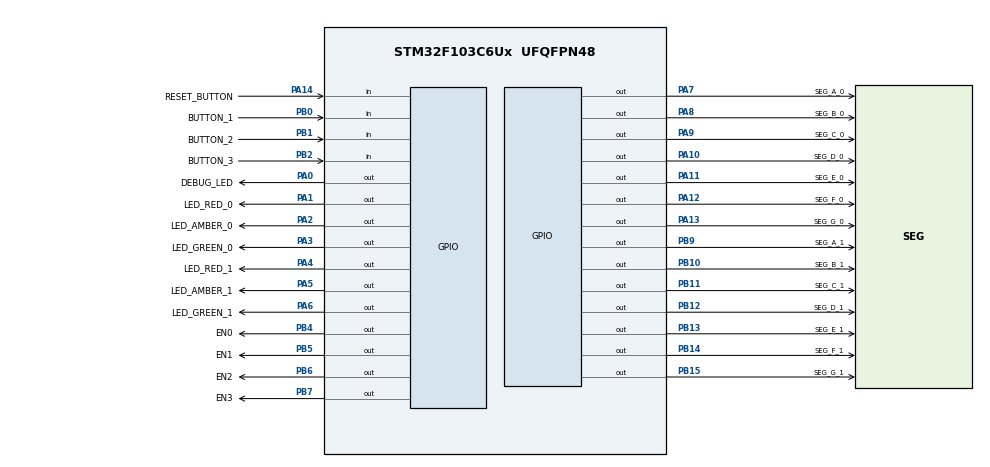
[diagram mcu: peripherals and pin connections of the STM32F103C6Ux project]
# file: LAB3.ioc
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Mcu.Family=STM32F1
Mcu.Name=STM32F103C6Ux
Mcu.Package=UFQFPN48
NVIC.PriorityGroup=NVIC_PRIORITYGROUP_4
NVIC.TIM2_IRQn=true\:0\:0\:false\:false\:true\:true\:true
PA0-WKUP.GPIO_Label=DEBUG_LED
PA0-WKUP.Signal=GPIO_Output
PA1.GPIO_Label=LED_RED_0
PA1.Signal=GPIO_Output
PA10.GPIO_Label=SEG_D_0
PA10.Signal=GPIO_Output
PA11.GPIO_Label=SEG_E_0
PA11.Signal=GPIO_Output
PA12.GPIO_Label=SEG_F_0
PA12.Signal=GPIO_Output
PA13.GPIO_Label=SEG_G_0
PA13.Signal=GPIO_Output
PA14.GPIO_Label=RESET_BUTTON
PA14.GPIO_PuPd=GPIO_PULLUP
PA14.Signal=GPIO_Input
PA2.GPIO_Label=LED_AMBER_0
PA2.Signal=GPIO_Output
PA3.GPIO_Label=LED_GREEN_0
PA3.Signal=GPIO_Output
PA4.GPIO_Label=LED_RED_1
PA4.Signal=GPIO_Output
PA5.GPIO_Label=LED_AMBER_1
PA5.Signal=GPIO_Output
PA6.GPIO_Label=LED_GREEN_1
PA6.Signal=GPIO_Output
PA7.GPIO_Label=SEG_A_0
PA7.Signal=GPIO_Output
PA8.GPIO_Label=SEG_B_0
PA8.Signal=GPIO_Output
PA9.GPIO_Label=SEG_C_0
PA9.Signal=GPIO_Output
PB0.GPIO_Label=BUTTON_1
PB0.GPIO_PuPd=GPIO_PULLUP
PB0.Signal=GPIO_Input
PB1.GPIO_Label=BUTTON_2
PB1.GPIO_PuPd=GPIO_PULLUP
PB1.Signal=GPIO_Input
PB10.GPIO_Label=SEG_B_1
PB10.Signal=GPIO_Output
PB11.GPIO_Label=SEG_C_1
PB11.Signal=GPIO_Output
PB12.GPIO_Label=SEG_D_1
PB12.Signal=GPIO_Output
PB13.GPIO_Label=SEG_E_1
PB13.Signal=GPIO_Output
PB14.GPIO_Label=SEG_F_1
PB14.Signal=GPIO_Output
PB15.GPIO_Label=SEG_G_1
PB15.Signal=GPIO_Output
PB2.GPIO_Label=BUTTON_3
PB2.GPIO_PuPd=GPIO_PULLUP
PB2.Signal=GPIO_Input
PB4.GPIO_Label=EN0
PB4.Signal=GPIO_Output
PB5.GPIO_Label=EN1
PB5.Signal=GPIO_Output
PB6.GPIO_Label=EN2
PB6.Signal=GPIO_Output
PB7.GPIO_Label=EN3
PB7.Signal=GPIO_Output
PB9.GPIO_Label=SEG_A_1
PB9.Signal=GPIO_Output
ProjectManager.HeapSize=0x200
ProjectManager.StackSize=0x400
ProjectManager.TargetToolchain=STM32CubeIDE
RCC.APB1Freq_Value=8000000
RCC.APB2Freq_Value=8000000
TIM2.Period=9
TIM2.Prescaler=7999
VP_SYS_VS_ND.Mode=No_Debug
VP_TIM2_VS_ClockSourceINT.Mode=Internal
board=custom

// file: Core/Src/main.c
/* USER CODE BEGIN Header */
/**
  ******************************************************************************
  * @file           : main.c
  * @brief          : Main program body
  ******************************************************************************
  * @attention
  *
  * <h2><center>&copy; Copyright (c) 2025 STMicroelectronics.
  * All rights reserved.</center></h2>
  *
  * This software component is licensed by ST under BSD 3-Clause license,
  * the "License"; You may not use this file except in compliance with the
  * License. You may obtain a copy of the License at:
  *                        opensource.org/licenses/BSD-3-Clause
  *
  ******************************************************************************
  */
/* USER CODE END Header */
#include "main.h"

/* USER CODE BEGIN Includes */
#include "input_reading.h"
#include "input_processing.h"
#include "led_display.h"
#include "timer.h"
/* USER CODE END Includes */

TIM_HandleTypeDef htim2;

void SystemClock_Config(void);
static void MX_GPIO_Init(void);
static void MX_TIM2_Init(void);

int main(void)
{

  /* MCU Configuration--------------------------------------------------------*/

  /* Reset of all peripherals, Initializes the Flash interface and the Systick. */
  HAL_Init();

  /* Configure the system clock */
  SystemClock_Config();

  /* Initialize all configured peripherals */
  MX_GPIO_Init();
  MX_TIM2_Init();
  /* USER CODE BEGIN 2 */
  HAL_TIM_Base_Start_IT(&htim2);

  defaultState();
  updateTimerCycle(htim2.Init.Prescaler, htim2.Init.Period, 8000000);
  setTimer(tmr_blink_mod_led, 500);
  setTimer(tmr_blink_red_led, 1000);
  setTimer(tmr_btn_hold, 500);
  setTimer(tmr_btn_press, 300);
  setTimer(tmr_seg_scan, 250);
  setTimer(tmr_traffic_clk, 1000);
  /* USER CODE END 2 */

  /* Infinite loop */
  /* USER CODE BEGIN WHILE */
  while (1)
  {
		if (checkTimerFlag(tmr_blink_red_led)) { // Blinking DEBUG_LED every 1000 ms
		  resetTimer(tmr_blink_red_led);
		  HAL_GPIO_TogglePin(DEBUG_LED_GPIO_Port, DEBUG_LED_Pin);
		}

		fsm_for_input_processing();
		output_processing();

    /* USER CODE END WHILE */

  }
}

void SystemClock_Config(void)
{
  RCC_OscInitTypeDef RCC_OscInitStruct = {0};
  RCC_ClkInitTypeDef RCC_ClkInitStruct = {0};

  /** Initializes the RCC Oscillators according to the specified parameters
  * in the RCC_OscInitTypeDef structure.
  */
  RCC_OscInitStruct.OscillatorType = RCC_OSCILLATORTYPE_HSI;
  RCC_OscInitStruct.HSIState = RCC_HSI_ON;
  RCC_OscInitStruct.HSICalibrationValue = RCC_HSICALIBRATION_DEFAULT;
  RCC_OscInitStruct.PLL.PLLState = RCC_PLL_NONE;
  if (HAL_RCC_OscConfig(&RCC_OscInitStruct) != HAL_OK)
  {
    Error_Handler();
  }
  /** Initializes the CPU, AHB and APB buses clocks
  */
  RCC_ClkInitStruct.ClockType = RCC_CLOCKTYPE_HCLK|RCC_CLOCKTYPE_SYSCLK
                              |RCC_CLOCKTYPE_PCLK1|RCC_CLOCKTYPE_PCLK2;
  RCC_ClkInitStruct.SYSCLKSource = RCC_SYSCLKSOURCE_HSI;
  RCC_ClkInitStruct.AHBCLKDivider = RCC_SYSCLK_DIV1;
  RCC_ClkInitStruct.APB1CLKDivider = RCC_HCLK_DIV1;
  RCC_ClkInitStruct.APB2CLKDivider = RCC_HCLK_DIV1;

  if (HAL_RCC_ClockConfig(&RCC_ClkInitStruct, FLASH_LATENCY_0) != HAL_OK)
  {
    Error_Handler();
  }
}

static void MX_TIM2_Init(void)
{

  TIM_ClockConfigTypeDef sClockSourceConfig = {0};
  TIM_MasterConfigTypeDef sMasterConfig = {0};

  htim2.Instance = TIM2;
  htim2.Init.Prescaler = 7999;
  htim2.Init.CounterMode = TIM_COUNTERMODE_UP;
  htim2.Init.Period = 9;
  htim2.Init.ClockDivision = TIM_CLOCKDIVISION_DIV1;
  htim2.Init.AutoReloadPreload = TIM_AUTORELOAD_PRELOAD_DISABLE;
  if (HAL_TIM_Base_Init(&htim2) != HAL_OK)
  {
    Error_Handler();
  }
  sClockSourceConfig.ClockSource = TIM_CLOCKSOURCE_INTERNAL;
  if (HAL_TIM_ConfigClockSource(&htim2, &sClockSourceConfig) != HAL_OK)
  {
    Error_Handler();
  }
  sMasterConfig.MasterOutputTrigger = TIM_TRGO_RESET;
  sMasterConfig.MasterSlaveMode = TIM_MASTERSLAVEMODE_DISABLE;
  if (HAL_TIMEx_MasterConfigSynchronization(&htim2, &sMasterConfig) != HAL_OK)
  {
    Error_Handler();
  }

}

static void MX_GPIO_Init(void)
{
  GPIO_InitTypeDef GPIO_InitStruct = {0};

  /* GPIO Ports Clock Enable */
  __HAL_RCC_GPIOA_CLK_ENABLE();
  __HAL_RCC_GPIOB_CLK_ENABLE();

  /*Configure GPIO pin Output Level */
  HAL_GPIO_WritePin(GPIOA, DEBUG_LED_Pin|LED_RED_0_Pin|LED_AMBER_0_Pin|LED_GREEN_0_Pin
                          |LED_RED_1_Pin|LED_AMBER_1_Pin|LED_GREEN_1_Pin|SEG_A_0_Pin
                          |SEG_B_0_Pin|SEG_C_0_Pin|SEG_D_0_Pin|SEG_E_0_Pin
                          |SEG_F_0_Pin|SEG_G_0_Pin, GPIO_PIN_RESET);

  /*Configure GPIO pin Output Level */
  HAL_GPIO_WritePin(GPIOB, SEG_B_1_Pin|SEG_C_1_Pin|SEG_D_1_Pin|SEG_E_1_Pin
                          |SEG_F_1_Pin|SEG_G_1_Pin|EN0_Pin|EN1_Pin
                          |EN2_Pin|EN3_Pin|SEG_A_1_Pin, GPIO_PIN_RESET);

  /*Configure GPIO pins : DEBUG_LED_Pin LED_RED_0_Pin LED_AMBER_0_Pin LED_GREEN_0_Pin
                           LED_RED_1_Pin LED_AMBER_1_Pin LED_GREEN_1_Pin SEG_A_0_Pin
                           SEG_B_0_Pin SEG_C_0_Pin SEG_D_0_Pin SEG_E_0_Pin
                           SEG_F_0_Pin SEG_G_0_Pin */
  GPIO_InitStruct.Pin = DEBUG_LED_Pin|LED_RED_0_Pin|LED_AMBER_0_Pin|LED_GREEN_0_Pin
                          |LED_RED_1_Pin|LED_AMBER_1_Pin|LED_GREEN_1_Pin|SEG_A_0_Pin
                          |SEG_B_0_Pin|SEG_C_0_Pin|SEG_D_0_Pin|SEG_E_0_Pin
                          |SEG_F_0_Pin|SEG_G_0_Pin;
  GPIO_InitStruct.Mode = GPIO_MODE_OUTPUT_PP;
  GPIO_InitStruct.Pull = GPIO_NOPULL;
  GPIO_InitStruct.Speed = GPIO_SPEED_FREQ_LOW;
  HAL_GPIO_Init(GPIOA, &GPIO_InitStruct);

  /*Configure GPIO pins : BUTTON_1_Pin BUTTON_2_Pin BUTTON_3_Pin */
  GPIO_InitStruct.Pin = BUTTON_1_Pin|BUTTON_2_Pin|BUTTON_3_Pin;
  GPIO_InitStruct.Mode = GPIO_MODE_INPUT;
  GPIO_InitStruct.Pull = GPIO_PULLUP;
  HAL_GPIO_Init(GPIOB, &GPIO_InitStruct);

  /*Configure GPIO pins : SEG_B_1_Pin SEG_C_1_Pin SEG_D_1_Pin SEG_E_1_Pin
                           SEG_F_1_Pin SEG_G_1_Pin EN0_Pin EN1_Pin
                           EN2_Pin EN3_Pin SEG_A_1_Pin */
  GPIO_InitStruct.Pin = SEG_B_1_Pin|SEG_C_1_Pin|SEG_D_1_Pin|SEG_E_1_Pin
                          |SEG_F_1_Pin|SEG_G_1_Pin|EN0_Pin|EN1_Pin
                          |EN2_Pin|EN3_Pin|SEG_A_1_Pin;
  GPIO_InitStruct.Mode = GPIO_MODE_OUTPUT_PP;
  GPIO_InitStruct.Pull = GPIO_NOPULL;
  GPIO_InitStruct.Speed = GPIO_SPEED_FREQ_LOW;
  HAL_GPIO_Init(GPIOB, &GPIO_InitStruct);

  /*Configure GPIO pin : RESET_BUTTON_Pin */
  GPIO_InitStruct.Pin = RESET_BUTTON_Pin;
  GPIO_InitStruct.Mode = GPIO_MODE_INPUT;
  GPIO_InitStruct.Pull = GPIO_PULLUP;
  HAL_GPIO_Init(RESET_BUTTON_GPIO_Port, &GPIO_InitStruct);

}

void Error_Handler(void)
{
  __disable_irq();
  while (1)
  {
  }
}

/************************ (C) COPYRIGHT STMicroelectronics *****END OF FILE****/
